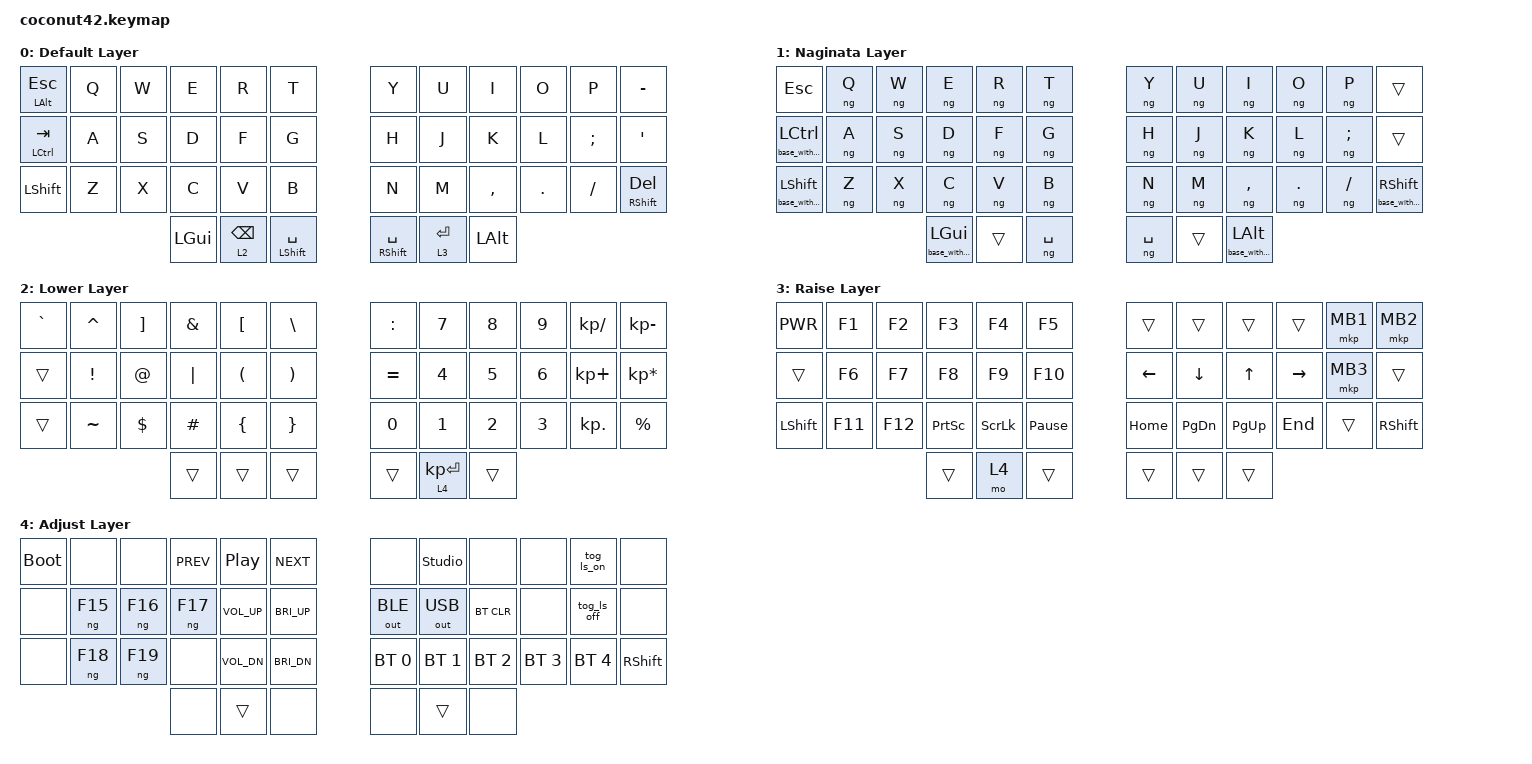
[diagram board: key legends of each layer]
/*
 * Copyright (c) 2024 Satoru NAKAYA
 *
 * SPDX-License-Identifier: MIT
 */

#include <behaviors.dtsi>
#include <dt-bindings/zmk/keys.h>
#include <dt-bindings/zmk/pointing.h>
#include <dt-bindings/zmk/bt.h>
#include <dt-bindings/zmk/outputs.h>
#include <behaviors/naginata.dtsi>
#include <layout_shift_kp_override.dtsi>

&lt { quick-tap-ms = <200>; };
&mt { quick-tap-ms = <200>; };

/ {
    macros {
        ng_on: ng_on {
            compatible = "zmk,behavior-macro";
            #binding-cells = <0>;
            bindings
                = <&macro_tap &kp LANGUAGE_1 &to 1>
                ;
        };
        ng_off: ng_off {
            compatible = "zmk,behavior-macro";
            #binding-cells = <0>;
            bindings
                = <&macro_tap &kp LANGUAGE_2 &to 0>
                ;
        };
        base_with_mod: base_with_mod {
            compatible = "zmk,behavior-macro-one-param";
            wait-ms = <0>;
            tap-ms = <0>;
            #binding-cells = <1>;
            bindings
                = <&macro_press &tog 1 >
                , <&macro_param_1to1>
                , <&macro_press &kp MACRO_PLACEHOLDER>
                , <&macro_pause_for_release>
                , <&macro_param_1to1>
                , <&macro_release &kp MACRO_PLACEHOLDER>
                , <&macro_press &tog 1 >
                ;
        };
    };

    combos {
        compatible = "zmk,combos";
        combo_ng_on {
            timeout-ms = <300>;
            key-positions = <18 19>; // H, Jのキー位置に書き換えてください
            bindings = <&ng_on>;
            layers = <0>; // デフォルトレイヤーが0の前提
        };
        combo_ng_off {
            timeout-ms = <300>;
            key-positions = <16 17>; // F, Gのキー位置に書き換えてください
            bindings = <&ng_off>;
            layers = <0 1>; // デフォルトレイヤーが0、薙刀式レイヤーが1の前提
        };
    };

    keymap {
        compatible = "zmk,keymap";

        default_layer { // layer 0
            display-name = "Default Layer";
// -----------------------------------------------------------------------------------------
// |OP_ESC |  Q  |  W  |  E  |  R  |  T  |   |  Y  |  U  |  I  |  O  |  P  |   -   |
// |CTL_TAB|  A  |  S  |  D  |  F  |  G  |   |  H  |  J  |  K  |  L  |  ;  |   '   |
// |  SHFT |  Z  |  X  |  C  |  V  |  B  |   |  N  |  M  |  ,  |  .  |  /  |SFT_DEL|
//                  |CM_EISU|LOW_BS| SPC |   | SPC |RAI_ENT|OP_KANA|
            bindings = <
&mt LALT ESC  &kp Q &kp W &kp E &kp R &kp T   &kp Y &kp U  &kp I     &kp O   &kp P    &kp MINUS
&mt LCTRL TAB &kp A &kp S &kp D &kp F &kp G   &kp H &kp J  &kp K     &kp L   &kp SEMI &kp SQT
&kp LSHFT     &kp Z &kp X &kp C &kp V &kp B   &kp N &kp M  &kp COMMA &kp DOT &kp FSLH &mt RSHFT DEL
        &kp LGUI &lt 2 BSPC &mt LSHFT SPACE   &mt RSHFT SPACE &lt 3 RET &kp LALT
            >;
        };

// 薙刀式に必要な31キー(Enterもシフトキーにしたいときは32キー)を定義してください。
// &kpの代わりに&ngを使います。通常はデフォルトレイヤーの次に配置してください(レイヤー番号1)。
        naginata_layer { // layer 1 
            display-name = "Naginata Layer";
// -----------------------------------------------------------------------------------------
// |       |  Q  |  W  |  E  |  R  |  T  |   |  Y  |  U  |  I  |  O  |  P  |       |
// |       |  A  |  S  |  D  |  F  |  G  |   |  H  |  J  |  K  |  L  |  ;  |       |
// |       |  Z  |  X  |  C  |  V  |  B  |   |  N  |  M  |  ,  |  .  |  /  |       |
//                     |     |     | SPC |   | SPC |     |     |
            bindings = <
&kp ESC              &ng Q &ng W &ng E &ng R &ng T   &ng Y &ng U  &ng I     &ng O   &ng P    &trans
&base_with_mod LCTRL &ng A &ng S &ng D &ng F &ng G   &ng H &ng J  &ng K     &ng L   &ng SEMI &trans
&base_with_mod LSHFT &ng Z &ng X &ng C &ng V &ng B   &ng N &ng M  &ng COMMA &ng DOT &ng FSLH &base_with_mod RSHFT
              &base_with_mod LGUI &trans &ng SPACE   &ng SPACE &trans &base_with_mod LALT
            >;
        };

        lower_layer {   // layer 2
            display-name = "Lower Layer";
// -----------------------------------------------------------------------------------------
// |   `   |  ^  |  ]  |  &  |  [  |  \  |   |  :  |  7  |  8  |  9  |  /  |   -   |
// |       |  !  |  @  | "|" |  (  |  )  |   |  =  |  4  |  5  |  6  |  +  |   *   |
// |       |  ~  |  $  |  #  |  {  |  }  |   |  0  |  1  |  2  |  3  |  .  |   %   |
//                     |     |     |     |   |     |ADJ_ENT|   |
            bindings = <
&kp GRAVE &kp CARET &kp RBKT &kp AMPS &kp LBKT &kp BSLH   &kp COLON &kp N7 &kp N8 &kp N9 &kp KP_DIVIDE &kp KP_MINUS
&trans    &kp EXCL  &kp AT   &kp PIPE &kp LPAR &kp RPAR   &kp EQUAL &kp N4 &kp N5 &kp N6 &kp KP_PLUS   &kp KP_MULTIPLY
&trans    &kp TILDE &kp DLLR &kp HASH &kp LBRC &kp RBRC   &kp N0    &kp N1 &kp N2 &kp N3 &kp KP_DOT    &kp PRCNT
                             &trans   &trans   &trans     &trans    &lt 4 KP_ENTER &trans
            >;
        };

        raise_layer {   // layer 3
            display-name = "Raise Layer";
// -----------------------------------------------------------------------------------------
// |  PWR  |  F1 |  F2 |  F3 |  F4 |  F5 |   |     |     |     |     | LCLK|  RCLK |
// |       |  F6 |  F7 |  F8 |  F9 | F10 |   | LFT | DWN |  UP | RGT | MCLK|       |
// |  SHFT | F11 | F12 | PSCR| SCRL| PAUS|   | HOME| PGWN| PGUP| END |     |       |
//                    |     |ADJUST|     |   |     |     |     |
            bindings = <
&kp K_PWR &kp F1  &kp F2  &kp F3    &kp F4   &kp F5            &trans   &trans    &trans    &trans    &mkp MB1 &mkp MB2
&trans    &kp F6  &kp F7  &kp F8    &kp F9   &kp F10           &kp LEFT &kp DOWN  &kp UP    &kp RIGHT &mkp MB3 &trans
&kp LSHFT &kp F11 &kp F12 &kp PSCRN &kp SLCK &kp PAUSE_BREAK   &kp HOME &kp PG_DN &kp PG_UP &kp END   &trans   &kp RSHFT
                          &trans    &mo 4    &trans            &trans   &trans    &trans
            >;
        };

        adjust_layer {  // layer 4
            display-name = "Adjust Layer";
// -----------------------------------------------------------------------------------------
// | RESET |       |       |  PREV | PLAY | NEXT |   |       | Unlock|       |       | US2JIS|       |
// |       |NG_WIN |NG_MAC |NG_LNX |VOL_UP|BRI_UP|   |OUT_BLE|OUT_USB| BT_CLR|       | US_KEY|       |
// |       |NG_TATE|NG_YOKO|       |VOL_DN|BRI_DN|   |BT_SEL0|BT_SEL1|BT_SEL2|BT_SEL3|BT_SEL4|  SHFT |
//                         |       |      |      |   |       |       |       |
            bindings = <
&bootloader &none   &none   &kp C_PREV &kp C_PP     &kp C_NEXT     &none        &studio_unlock &none        &none        &tog_ls_on   &none
&none       &ng F15 &ng F16 &ng F17    &kp C_VOL_UP &kp C_BRI_UP   &out OUT_BLE &out OUT_USB   &bt BT_CLR   &none        &tog_ls_off  &none
&none       &ng F18 &ng F19 &none      &kp C_VOL_DN &kp C_BRI_DN   &bt BT_SEL 0 &bt BT_SEL 1   &bt BT_SEL 2 &bt BT_SEL 3 &bt BT_SEL 4 &kp RSHFT
                            &none      &trans       &none          &none        &trans         &none
            >;
        };
    };
};
